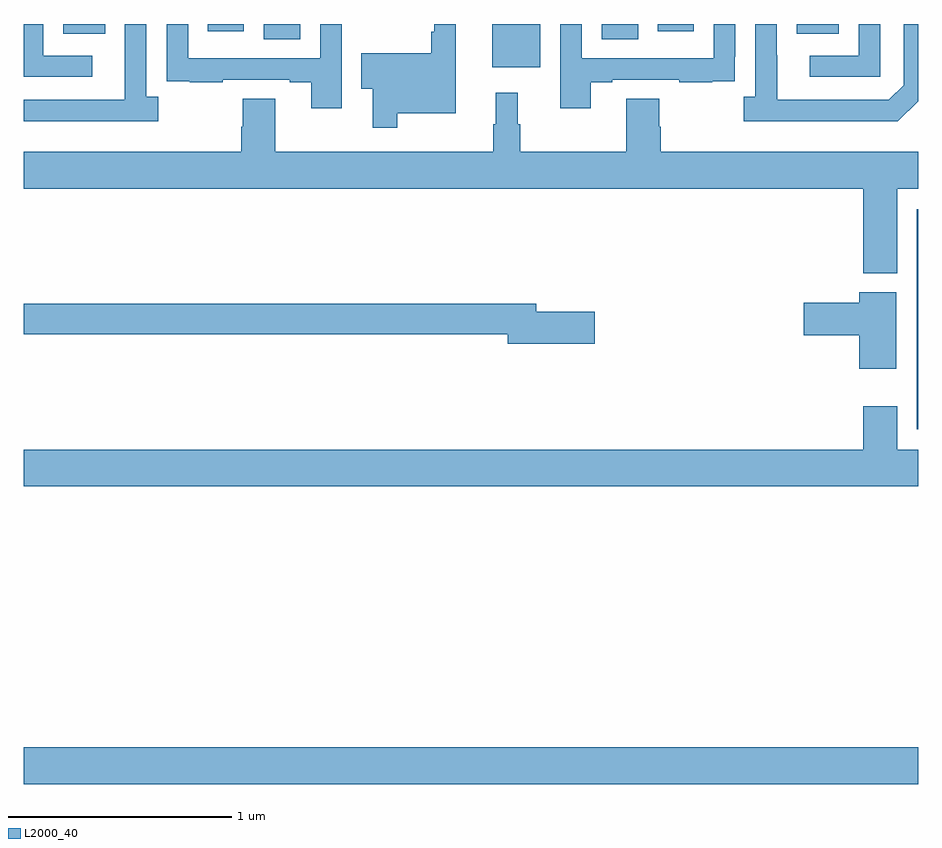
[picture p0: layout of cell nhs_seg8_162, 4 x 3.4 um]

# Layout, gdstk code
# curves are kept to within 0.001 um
import gdstk
lib = gdstk.Library(unit=1e-6, precision=1e-09)
def R(c, l, rs):  # rectangles x0, y0, x1, y1
    for r in rs: c.add(gdstk.rectangle(r[:2], r[2:], *l))
def P(c, l, *ps):  # polygons
    for p in ps: c.add(gdstk.Polygon(p, *l))
L2000_40 = (2000, 40)

nhs_seg8_162 = lib.new_cell('nhs_seg8_162')
R(nhs_seg8_162, L2000_40, [(121,1116.5,125,1116.664), (124.995,1118.088,125,1119.072), (123.095,1119.707,123.31,1119.9), (122.072,1119.832,122.236,1119.9), (123.584,1119.832,123.748,1119.9), (121.175,1119.857,121.363,1119.9), (124.457,1119.857,124.645,1119.9), (121.823,1119.867,121.984,1119.9), (123.836,1119.867,123.997,1119.9)])
P(nhs_seg8_162, L2000_40, [(123.535,1119.639),(123.631,1119.639),(123.631,1119.651),(123.931,1119.651),(123.931,1119.639),(124.079,1119.639),(124.079,1119.645),(124.181,1119.645),(124.181,1119.754),(124.182,1119.754),(124.182,1119.9),(124.086,1119.9),(124.086,1119.747),(123.495,1119.747),(123.495,1119.9),(123.399,1119.9),(123.399,1119.522),(123.535,1119.522)],
  [(121.6,1119.574),(121.548,1119.574),(121.548,1119.9),(121.452,1119.9),(121.452,1119.761),(121.451,1119.761),(121.451,1119.561),(121,1119.561),(121,1119.464),(121.6,1119.464)],
  [(125,1119.554),(125,1119.9),(124.935,1119.9),(124.935,1119.627),(124.869,1119.561),(124.369,1119.561),(124.368,1119.9),(124.272,1119.9),(124.272,1119.574),(124.221,1119.574),(124.221,1119.464),(124.91,1119.464)],
  [(121.306,1119.759),(121.086,1119.759),(121.086,1119.9),(121,1119.9),(121,1119.663),(121.306,1119.663)],
  [(124.83,1119.9),(124.734,1119.9),(124.734,1119.759),(124.515,1119.759),(124.515,1119.663),(124.83,1119.663)],
  [(122.671,1119.5),(122.932,1119.5),(122.932,1119.9),(122.835,1119.9),(122.835,1119.865),(122.823,1119.865),(122.823,1119.769),(122.508,1119.769),(122.508,1119.611),(122.561,1119.611),(122.561,1119.435),(122.671,1119.435)],
  [(122.421,1119.9),(122.325,1119.9),(122.325,1119.747),(121.734,1119.747),(121.734,1119.9),(121.638,1119.9),(121.638,1119.754),(121.639,1119.754),(121.639,1119.645),(121.741,1119.645),(121.741,1119.639),(121.889,1119.639),(121.889,1119.651),(122.189,1119.651),(122.189,1119.639),(122.285,1119.639),(122.285,1119.522),(122.421,1119.522)],
  [(124.906,1119.164),(125,1119.164),(125,1119.328),(123.848,1119.328),(123.848,1119.441),(123.843,1119.441),(123.843,1119.566),(123.695,1119.566),(123.695,1119.328),(123.22,1119.328),(123.22,1119.452),(123.209,1119.452),(123.209,1119.592),(123.11,1119.592),(123.11,1119.452),(123.099,1119.452),(123.099,1119.328),(122.125,1119.328),(122.125,1119.566),(121.978,1119.566),(121.978,1119.441),(121.973,1119.441),(121.973,1119.328),(121,1119.328),(121,1119.164),(124.754,1119.164),(124.754,1118.786),(124.906,1118.786)],
  [(124.903,1118.701),(124.736,1118.701),(124.736,1118.654),(124.488,1118.654),(124.488,1118.507),(124.736,1118.507),(124.736,1118.358),(124.903,1118.358)],
  [(123.553,1118.612),(123.292,1118.612),(123.292,1118.648),(121,1118.648),(121,1118.512),(123.164,1118.512),(123.164,1118.47),(123.553,1118.47)],
  [(125,1117.996),(124.906,1117.996),(124.906,1118.191),(124.754,1118.191),(124.754,1117.996),(121,1117.996),(121,1117.832),(125,1117.832)])

lib.write_gds('nhs_seg8_162.gds')
